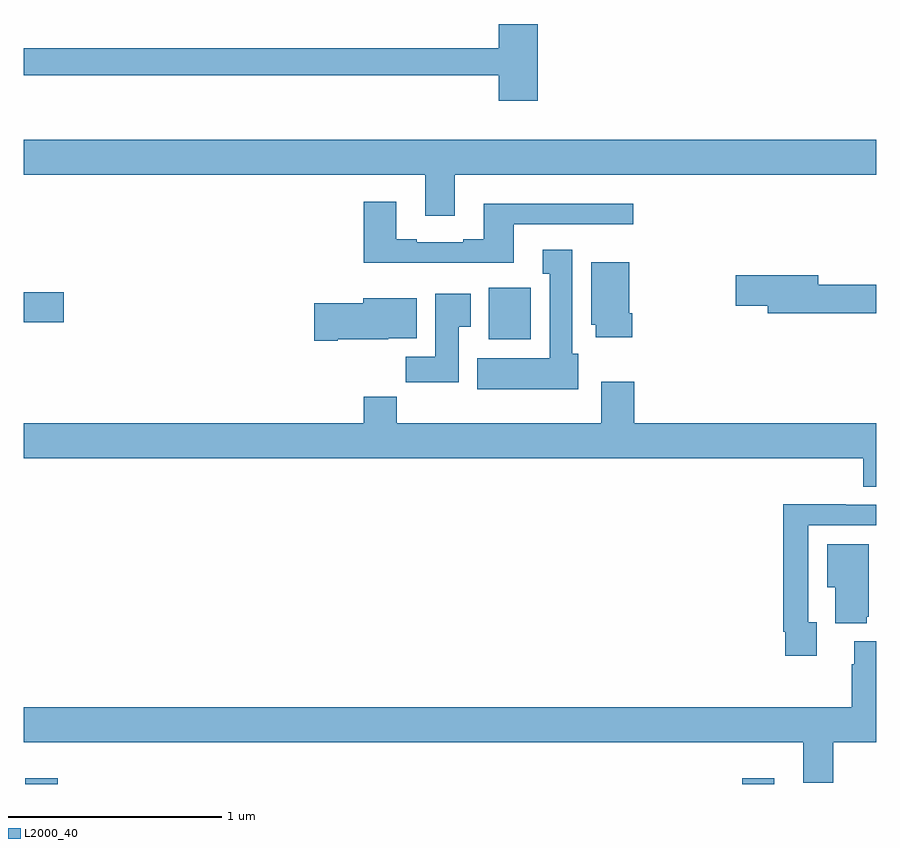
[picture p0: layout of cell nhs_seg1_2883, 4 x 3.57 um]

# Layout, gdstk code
import gdstk
lib = gdstk.Library(unit=1e-6, precision=1e-09)
def R(c, l, rs):  # rectangles x0, y0, x1, y1
    for r in rs: c.add(gdstk.rectangle(r[:2], r[2:], *l))
def P(c, l, *ps):  # polygons
    for p in ps: c.add(gdstk.Polygon(p, *l))
L2000_40 = (2000, 40)

nhs_seg1_2883 = lib.new_cell('nhs_seg1_2883')
R(nhs_seg1_2883, L2000_40, [(267.005,554.199,267.158,554.227), (270.371,554.199,270.523,554.227), (269.183,556.286,269.38,556.528), (267,556.366,267.187,556.508)])
P(nhs_seg1_2883, L2000_40, [(269.411,557.767),(269.228,557.767),(269.228,557.654),(267,557.654),(267,557.526),(269.228,557.526),(269.228,557.406),(269.411,557.406)],
  [(269.023,557.06),(271,557.06),(271,557.224),(267,557.224),(267,557.06),(268.883,557.06),(268.883,556.866),(269.023,556.866)],
  [(269.299,556.827),(269.86,556.827),(269.86,556.924),(269.159,556.924),(269.159,556.756),(269.063,556.756),(269.063,556.743),(268.843,556.743),(268.843,556.756),(268.747,556.756),(268.747,556.933),(268.595,556.933),(268.595,556.646),(269.299,556.646)],
  [(269.602,556.218),(269.575,556.218),(269.575,556.708),(269.435,556.708),(269.435,556.595),(269.468,556.595),(269.468,556.198),(269.129,556.198),(269.129,556.052),(269.602,556.052)],
  [(269.855,556.408),(269.842,556.408),(269.842,556.648),(269.663,556.648),(269.663,556.356),(269.684,556.356),(269.684,556.296),(269.855,556.296)],
  [(271,556.544),(270.73,556.544),(270.73,556.587),(270.342,556.587),(270.342,556.445),(270.491,556.445),(270.491,556.408),(271,556.408)],
  [(269.041,556.345),(269.098,556.345),(269.098,556.501),(268.931,556.501),(268.931,556.204),(268.792,556.204),(268.792,556.086),(269.041,556.086)],
  [(268.474,556.286),(268.71,556.286),(268.71,556.292),(268.843,556.292),(268.843,556.48),(268.592,556.48),(268.592,556.457),(268.362,556.457),(268.362,556.279),(268.474,556.279)],
  [(271,555.892),(269.864,555.892),(269.864,556.087),(269.711,556.087),(269.711,555.892),(268.751,555.892),(268.751,556.016),(268.595,556.016),(268.595,555.892),(267,555.892),(267,555.728),(270.941,555.728),(270.941,555.595),(271,555.595)],
  [(270.721,554.958),(270.681,554.958),(270.681,555.414),(271,555.414),(271,555.51),(270.857,555.51),(270.857,555.512),(270.565,555.512),(270.565,554.914),(270.573,554.914),(270.573,554.802),(270.721,554.802)],
  [(270.956,554.985),(270.967,554.985),(270.967,555.325),(270.77,555.325),(270.77,555.122),(270.809,555.122),(270.809,554.954),(270.956,554.954)],
  [(270.799,554.396),(271,554.396),(271,554.869),(270.899,554.869),(270.899,554.762),(270.887,554.762),(270.887,554.56),(267,554.56),(267,554.396),(270.659,554.396),(270.659,554.206),(270.799,554.206)])

lib.write_gds('nhs_seg1_2883.gds')
